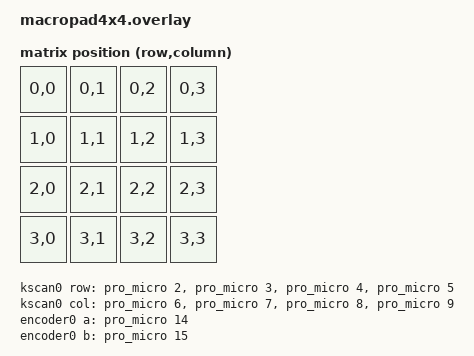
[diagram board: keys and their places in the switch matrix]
#include <dt-bindings/zmk/matrix_transform.h>
#include <dt-bindings/zmk/keys.h>

/ {
    chosen {
        zmk,kscan = &kscan0;
        zmk,matrix-transform = &default_transform;
        zmk,display = &oled;
        zmk,display-status-screen = &status_screen;
    };

    status_screen: status_screen {
        compatible = "zmk,status-screen";
    };

    default_transform: matrix_transform_0 {
        compatible = "zmk,matrix-transform";
        rows = <4>;
        columns = <4>;

        map = <
            RC(0,0) RC(0,1) RC(0,2) RC(0,3)
            RC(1,0) RC(1,1) RC(1,2) RC(1,3)
            RC(2,0) RC(2,1) RC(2,2) RC(2,3)
            RC(3,0) RC(3,1) RC(3,2) RC(3,3)
        >;
    };

    kscan0: kscan {
        compatible = "zmk,kscan-gpio-matrix";
        diode-direction = "col2row";

        row-gpios =
            <&pro_micro 2 GPIO_ACTIVE_HIGH>,
            <&pro_micro 3 GPIO_ACTIVE_HIGH>,
            <&pro_micro 4 GPIO_ACTIVE_HIGH>,
            <&pro_micro 5 GPIO_ACTIVE_HIGH>;

        col-gpios =
            <&pro_micro 6 GPIO_ACTIVE_HIGH>,
            <&pro_micro 7 GPIO_ACTIVE_HIGH>,
            <&pro_micro 8 GPIO_ACTIVE_HIGH>,
            <&pro_micro 9 GPIO_ACTIVE_HIGH>;
    };

    encoder_listener {
        compatible = "zmk,encoder-listener";
        device = <&encoder0>;

        bindings = <&kp C_VOL_DN &kp C_VOL_UP>;
    };
};

&pro_micro_i2c {
    status = "okay";

    oled: ssd1306@3c {
        compatible = "solomon,ssd1306fb";
        reg = <0x3c>;

        width = <128>;
        height = <32>;

        segment-offset = <0>;
        page-offset = <0>;
        display-offset = <0>;
        multiplex-ratio = <31>;

        segment-remap;
        com-invdir;
        com-sequential;

        prechargep = <0x22>;
    };
};

&encoder0 {
    status = "okay";
    compatible = "alps,ec11";

    a-gpios = <&pro_micro 14 GPIO_ACTIVE_LOW>;
    b-gpios = <&pro_micro 15 GPIO_ACTIVE_LOW>;

    steps = <4>;
};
